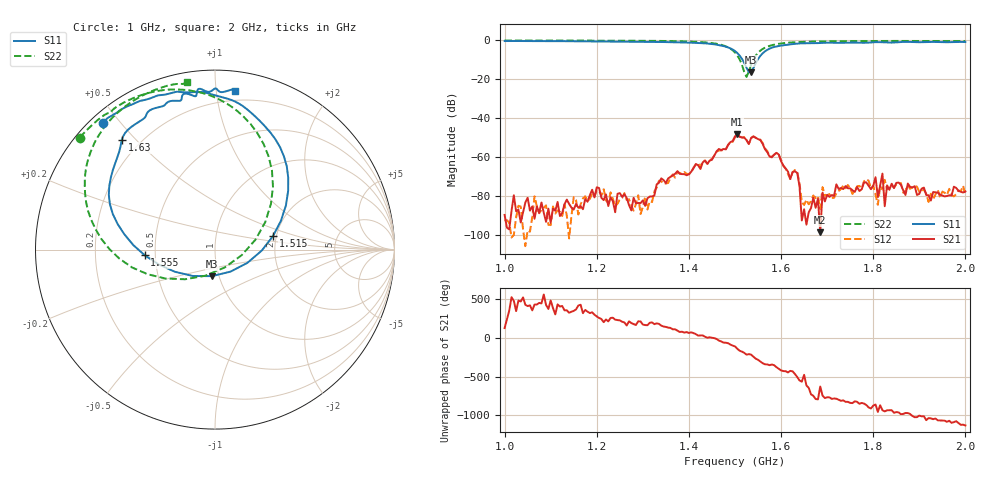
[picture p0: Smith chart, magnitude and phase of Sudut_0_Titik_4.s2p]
# Hz S RI R 50
! CMT, C1220, 16058040, 17.2.0/1
! Date: 14/08/2018 12:28:16
! Data: Format (Calibration Info)
! Freq  S11: Re/Im (F2)  S21: Re/Im (F2)  S12: Re/Im (F2)  S22: Re/Im (F2)
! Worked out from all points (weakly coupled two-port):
!   201 points, 1 GHz to 2 GHz, reference 50 ohm
!   highest |S21| = -48.20 dB at 1.505 GHz (marker M1); lowest = -98.9 dB at 1.685 GHz (marker M2)
!   lowest |S11| = -16.5 dB at 1.535 GHz (marker M3), VSWR 1.35, Z = 46.3 - j14 ohm
!   |S11| at or under -10 dB: 1.516 GHz to 1.549 GHz (33.54 MHz wide, 2.19 % of centre)
!   |S22| runs from -18.9 to -0.2 dB; largest |S21 - S12| = 0.00025
!   S11 on the Smith chart (normalised r, x): 1 GHz: 0.03, +0.45; 1.515 GHz: 1.92, +0.32; 1.555 GHz: 0.44, -0.03; 1.63 GHz: 0.13, +0.46; 2 GHz: 0.13, +1.13
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1e9  -0.6261 0.7072  -1.7e-05 2.73e-05  -1.94e-05 -1.22e-05  -0.7527 0.6243
1.17e9  -0.4512 0.8135  3.1e-05 -3.28e-05  6.81e-05 -5.12e-05  -0.6164 0.7497
1.32e9  -0.2075 0.8797  -9.28e-05 -2.51e-05  -5.14e-05 -4.61e-05  -0.4295 0.8542
1.335e9  -0.1865 0.8772  -0.000215 1.5e-05  -0.000241 3.22e-05  -0.4007 0.8638
1.45e9  0.1958 0.7672  0.000839 -2.99e-05  0.000892 -0.00011  0.0215 0.8377
1.5e9  0.4075 0.3272  -0.00132 -0.00311  -0.00128 -0.00286  0.323 0.3515
1.505e9  0.3952 0.2463  -0.00315 -0.00228  -0.00291 -0.00229  0.3118 0.2553
1.515e9  0.3224 0.0744  -0.00312 -8.69e-06  -0.00316 -0.000115  0.2262 0.0561
1.535e9  -0.0169 -0.1479  -0.00234 0.00194  -0.00233 0.00199  -0.167 -0.1653
1.555e9  -0.3914 -0.0317  0.00163 0.00214  0.0016 0.00226  -0.5329 -0.0501
1.62e9  -0.5279 0.5683  0.000102 -0.000248  0.00012 -0.00024  -0.7077 0.499
1.63e9  -0.5192 0.6113  -0.000128 -0.000406  -4.75e-05 -0.000453  -0.6927 0.5444
1.645e9  -0.4864 0.6662  -2.07e-05 1.03e-05  -5.64e-05 3.92e-05  -0.6682 0.6012
1.67e9  -0.401 0.7267  7.94e-05 -4.18e-05  8.99e-05 -4.66e-05  -0.6242 0.6724
1.685e9  -0.3832 0.7497  -1.75e-07 1.14e-05  3.74e-05 -2.65e-05  -0.5995 0.7045
1.785e9  -0.1873 0.8346  -0.000183 -0.000123  -0.000236 -0.000122  -0.4456 0.8345
1.805e9  -0.1769 0.8655  -0.000226 -0.000197  -0.000107 -4.08e-06  -0.4178 0.8514
1.81e9  -0.1692 0.8691  -5.37e-05 7.51e-05  -5.54e-05 1.88e-05  -0.4112 0.8551
1.82e9  -0.1471 0.8664  -0.000313 0.000199  -0.000131 6.16e-05  -0.3972 0.8619
1.825e9  -0.1339 0.8623  -3.59e-05 4.02e-05  -0.000255 2.97e-05  -0.3903 0.8651
1.835e9  -0.1128 0.8545  -0.000119 7.88e-05  -9.77e-05 0.000128  -0.3771 0.8719
2e9  0.113 0.8839  8.58e-05 -9.68e-05  6.12e-05 -8.3e-05  -0.1539 0.9317
